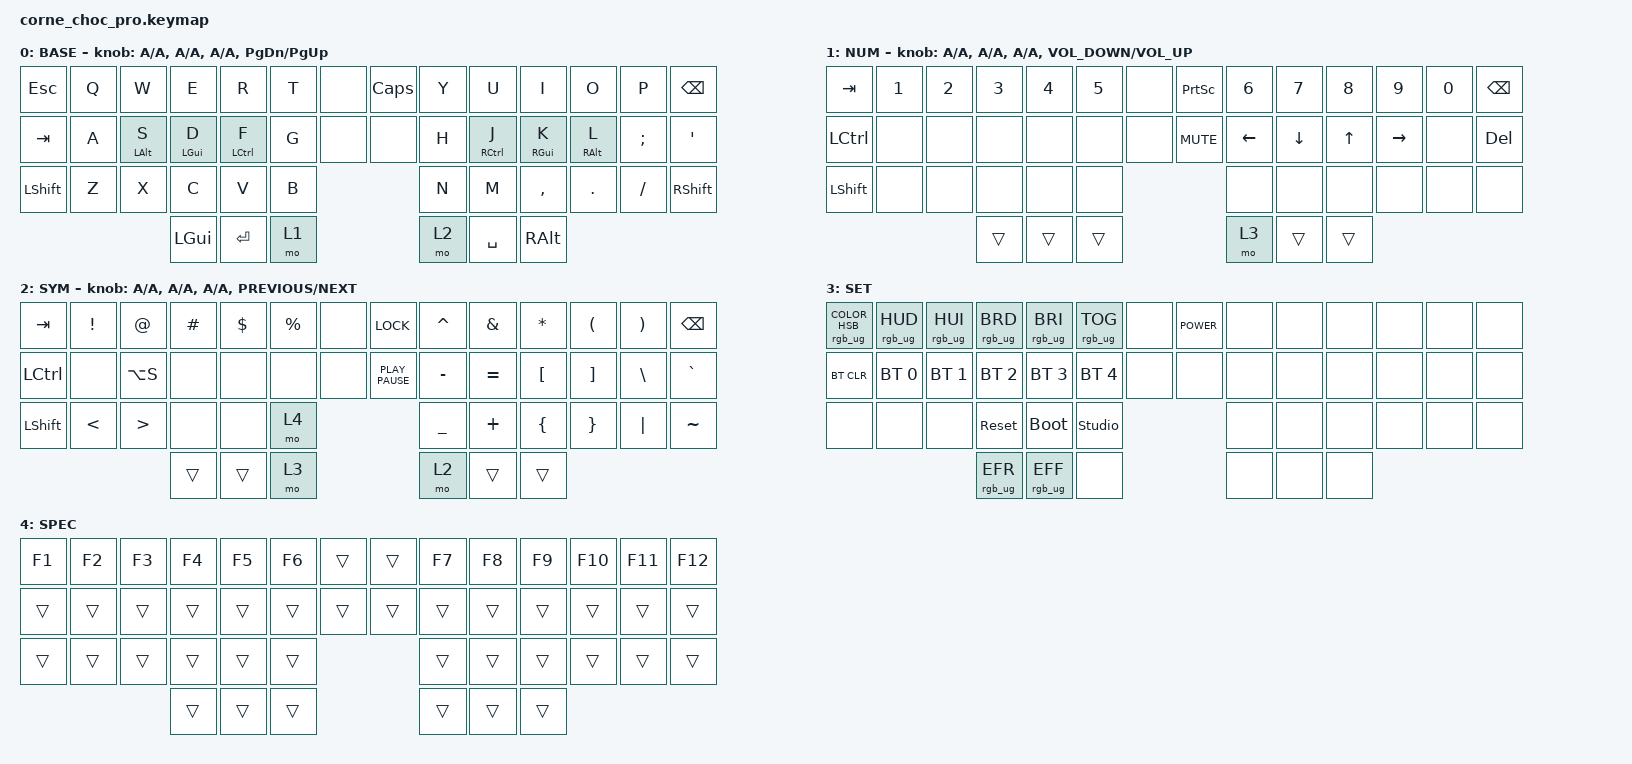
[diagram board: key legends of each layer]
/*
 * Copyright (c) 2020 The ZMK Contributors
 *
 * SPDX-License-Identifier: MIT
 */

#include <behaviors.dtsi>
#include <dt-bindings/zmk/bt.h>
#include <dt-bindings/zmk/keys.h>
#include <dt-bindings/zmk/rgb.h>

&mt {
    tapping-term-ms = <250>;
    flavor = "tap-preferred";
};

/ {
    chosen { zmk,physical-layout = &default_layout; };
};

/ {
    combos {
        compatible = "zmk,combos";

        lockMac {
            bindings = <&kp LG(LC(Q))>;
            key-positions = <7 43>;
        };
    };

    keymap {
        compatible = "zmk,keymap";

        BASE {
            display-name = "BASE";

            // --------------------------------------------------------------------------------
            // |  TAB |  Q  |  W  |  E  |  R  |  T  |  MUTE |  PP   |  Y  |  U   |  I  |  O  |  P  | BSPC |
            // | CTRL |  A  |  S  |  D  |  F  |  G  |  LALT |  RALT |  H  |  J   |  K  |  L  |  ;  |  '   |
            // | SHFT |  Z  |  X  |  C  |  V  |  B  |               |  N  |  M   |  ,  |  .  |  /  | ESC  |
            //                    | GUI | LWR | SPC |               | ENT | RSE  | ALT |

            bindings = <
&kp ESCAPE  &kp Q  &kp W           &kp E           &kp R               &kp T  &none  &kp CAPS  &kp Y  &kp U                &kp I            &kp O            &kp P     &kp BSPC
&kp TAB     &kp A  &mt LEFT_ALT S  &mt LEFT_GUI D  &mt LEFT_CONTROL F  &kp G  &none  &none     &kp H  &mt RIGHT_CONTROL J  &mt RIGHT_GUI K  &mt RIGHT_ALT L  &kp SEMI  &kp SQT
&kp LSHFT   &kp Z  &kp X           &kp C           &kp V               &kp B                   &kp N  &kp M                &kp COMMA        &kp DOT          &kp FSLH  &kp RIGHT_SHIFT
                                   &kp LGUI        &kp ENTER           &mo 1                   &mo 2  &kp SPACE            &kp RALT
            >;

            sensor-bindings =
                <&inc_dec_kp A A>,
                <&inc_dec_kp A A>,
                <&inc_dec_kp A A>,
                <&inc_dec_kp PAGE_DOWN PAGE_UP>;
        };

        NUM {
            display-name = "NUM";

            // -----------------------------------------------------------------------------------------
            // |  TAB |  1  |  2  |  3  |  4  |  5    |  LCTRL | RCTRL |  6  |  7  |  8  |  9  |  0  | BSPC |
            // | CTRL | BT1 | BT2 | BT3 | BT4 | BT5   |  LALT  | RALT  | LFT | DWN |  UP | RGT |     |      |
            // | SHFT | BTCR| RGB | RST | BOOT| Unlock|        |       |     |     |     |     |     |      |
            //                    | GUI |     | SPC   |        | ENT   |     | ALT |

            bindings = <
&kp TAB    &kp N1  &kp N2  &kp N3  &kp N4  &kp N5  &none  &kp PRINTSCREEN  &kp N6    &kp N7    &kp N8  &kp N9     &kp N0  &kp BACKSPACE
&kp LCTRL  &none   &none   &none   &none   &none   &none  &kp K_MUTE       &kp LEFT  &kp DOWN  &kp UP  &kp RIGHT  &none   &kp DELETE
&kp LSHFT  &none   &none   &none   &none   &none                           &none     &none     &none   &none      &none   &none
                           &trans  &trans  &trans                          &mo 3     &trans    &trans
            >;

            sensor-bindings =
                <&inc_dec_kp A A>,
                <&inc_dec_kp A A>,
                <&inc_dec_kp A A>,
                <&inc_dec_kp C_VOLUME_DOWN C_VOLUME_UP>;
        };

        SYM {
            display-name = "SYM";

            // -----------------------------------------------------------------------------------------
            // |  TAB |  !  |  @  |  #  |  $  |  %  | LCTRL | RCTRL |  ^  |  &  |  *  |  (  |  )  | BSPC |
            // | CTRL | HUD | HUI |     |     |     |  LALT | RALT  |  -  |  =  |  [  |  ]  |  \  |  `   |
            // | SHFT |     |     |     |     |     |               |  _  |  +  |  {  |  }  | "|" |  ~   |
            //                    | GUI |     | SPC |               | ENT |     | ALT |

            bindings = <
&kp TAB    &kp EXCL       &kp AT            &kp HASH  &kp DLLR  &kp PRCNT  &none  &kp K_LOCK        &kp CARET  &kp AMPS   &kp ASTRK  &kp LPAR  &kp RPAR  &kp BSPC
&kp LCTRL  &none          &kp LA(S)         &none     &none     &none      &none  &kp K_PLAY_PAUSE  &kp MINUS  &kp EQUAL  &kp LBKT   &kp RBKT  &kp BSLH  &kp GRAVE
&kp LSHFT  &kp LESS_THAN  &kp GREATER_THAN  &none     &none     &mo 4                               &kp UNDER  &kp PLUS   &kp LBRC   &kp RBRC  &kp PIPE  &kp TILDE
                                            &trans    &trans    &mo 3                               &mo 2      &trans     &trans
            >;

            sensor-bindings =
                <&inc_dec_kp A A>,
                <&inc_dec_kp A A>,
                <&inc_dec_kp A A>,
                <&inc_dec_kp C_PREVIOUS C_NEXT>;
        };

        SET {
            display-name = "SET";
            bindings = <
&rgb_ug RGB_COLOR_HSB(264,100,35)  &rgb_ug RGB_HUD  &rgb_ug RGB_HUI  &rgb_ug RGB_BRD  &rgb_ug RGB_BRI  &rgb_ug RGB_TOG  &none  &kp K_POWER  &none  &none  &none  &none  &none  &none
&bt BT_CLR                         &bt BT_SEL 0     &bt BT_SEL 1     &bt BT_SEL 2     &bt BT_SEL 3     &bt BT_SEL 4     &none  &none        &none  &none  &none  &none  &none  &none
&none                              &none            &none            &sys_reset       &bootloader      &studio_unlock                       &none  &none  &none  &none  &none  &none
                                                                     &rgb_ug RGB_EFR  &rgb_ug RGB_EFF  &none                                &none  &none  &none
            >;
        };

        SPEC {
            display-name = "SPEC";
            bindings = <
&kp F1  &kp F2  &kp F3  &kp F4  &kp F5  &kp F6  &trans  &trans  &kp F7  &kp F8  &kp F9  &kp F10  &kp F11  &kp F12
&trans  &trans  &trans  &trans  &trans  &trans  &trans  &trans  &trans  &trans  &trans  &trans   &trans   &trans
&trans  &trans  &trans  &trans  &trans  &trans                  &trans  &trans  &trans  &trans   &trans   &trans
                        &trans  &trans  &trans                  &trans  &trans  &trans
            >;
        };
    };
};
